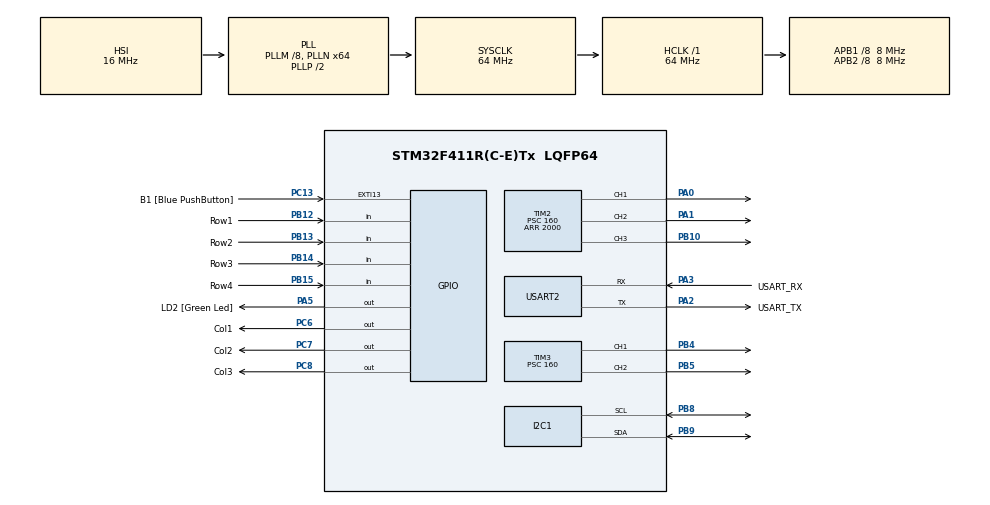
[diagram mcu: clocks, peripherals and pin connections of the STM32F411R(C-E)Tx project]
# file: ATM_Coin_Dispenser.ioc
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Mcu.Family=STM32F4
Mcu.Name=STM32F411R(C-E)Tx
Mcu.Package=LQFP64
NVIC.PriorityGroup=NVIC_PRIORITYGROUP_0
PA0-WKUP.Signal=S_TIM2_CH1_ETR
PA1.Signal=S_TIM2_CH2
PA13.GPIO_Label=TMS
PA13.Mode=Serial_Wire
PA13.Signal=SYS_JTMS-SWDIO
PA14.GPIO_Label=TCK
PA14.Mode=Serial_Wire
PA14.Signal=SYS_JTCK-SWCLK
PA2.GPIO_Label=USART_TX
PA2.Mode=Asynchronous
PA2.Signal=USART2_TX
PA3.GPIO_Label=USART_RX
PA3.Mode=Asynchronous
PA3.Signal=USART2_RX
PA5.GPIO_Label=LD2 [Green Led]
PA5.Signal=GPIO_Output
PB10.Signal=S_TIM2_CH3
PB12.GPIO_Label=Row1
PB12.GPIO_PuPd=GPIO_PULLDOWN
PB12.Signal=GPIO_Input
PB13.GPIO_Label=Row2
PB13.GPIO_PuPd=GPIO_PULLDOWN
PB13.Signal=GPIO_Input
PB14.GPIO_Label=Row3
PB14.GPIO_PuPd=GPIO_PULLDOWN
PB14.Signal=GPIO_Input
PB15.GPIO_Label=Row4
PB15.GPIO_PuPd=GPIO_PULLDOWN
PB15.Signal=GPIO_Input
PB3.GPIO_Label=SWO
PB3.Signal=SYS_JTDO-SWO
PB4.Signal=S_TIM3_CH1
PB5.Signal=S_TIM3_CH2
PB8.Mode=I2C
PB8.Signal=I2C1_SCL
PB9.Mode=I2C
PB9.Signal=I2C1_SDA
PC13-ANTI_TAMP.GPIO_Label=B1 [Blue PushButton]
PC13-ANTI_TAMP.GPIO_ModeDefaultEXTI=GPIO_MODE_IT_FALLING
PC13-ANTI_TAMP.Signal=GPXTI13
PC14-OSC32_IN.Mode=LSE-External-Oscillator
PC14-OSC32_IN.Signal=RCC_OSC32_IN
PC15-OSC32_OUT.Mode=LSE-External-Oscillator
PC15-OSC32_OUT.Signal=RCC_OSC32_OUT
PC6.GPIO_Label=Col1
PC6.GPIO_PuPd=GPIO_PULLUP
PC6.Signal=GPIO_Output
PC7.GPIO_Label=Col2
PC7.GPIO_PuPd=GPIO_PULLUP
PC7.Signal=GPIO_Output
PC8.GPIO_Label=Col3
PC8.GPIO_PuPd=GPIO_PULLUP
PC8.Signal=GPIO_Output
PH0\ -\ OSC_IN.Mode=HSE-External-Clock-Source
PH0\ -\ OSC_IN.Signal=RCC_OSC_IN
PH1\ -\ OSC_OUT.Mode=HSE-External-Clock-Source
PH1\ -\ OSC_OUT.Signal=RCC_OSC_OUT
ProjectManager.HeapSize=0x200
ProjectManager.StackSize=0x400
ProjectManager.TargetToolchain=STM32CubeIDE
RCC.48MHZClocksFreq_Value=32000000
RCC.AHBFreq_Value=64000000
RCC.APB1CLKDivider=RCC_HCLK_DIV8
RCC.APB1Freq_Value=8000000
RCC.APB1TimFreq_Value=16000000
RCC.APB2CLKDivider=RCC_HCLK_DIV8
RCC.APB2Freq_Value=8000000
RCC.APB2TimFreq_Value=16000000
RCC.CortexFreq_Value=64000000
RCC.FLatency-AdvancedSettings=FLASH_LATENCY_2
RCC.HCLKFreq_Value=64000000
RCC.HSE_VALUE=8000000
RCC.HSI_VALUE=16000000
RCC.PLLM=8
RCC.PLLN=64
RCC.SYSCLKFreq_VALUE=64000000
RCC.SYSCLKSource=RCC_SYSCLKSOURCE_PLLCLK
RCC.VCOOutputFreq_Value=128000000
SH.S_TIM2_CH1_ETR.0=TIM2_CH1,PWM Generation1 CH1
SH.S_TIM2_CH2.0=TIM2_CH2,PWM Generation2 CH2
SH.S_TIM2_CH3.0=TIM2_CH3,PWM Generation3 CH3
SH.S_TIM3_CH1.0=TIM3_CH1,PWM Generation1 CH1
SH.S_TIM3_CH2.0=TIM3_CH2,PWM Generation2 CH2
TIM2.Channel-PWM\ Generation1\ CH1=TIM_CHANNEL_1
TIM2.Channel-PWM\ Generation2\ CH2=TIM_CHANNEL_2
TIM2.Channel-PWM\ Generation3\ CH3=TIM_CHANNEL_3
TIM2.Period=2000
TIM2.Prescaler=160
TIM2.Pulse-PWM\ Generation1\ CH1=50
TIM2.Pulse-PWM\ Generation2\ CH2=50
TIM2.Pulse-PWM\ Generation3\ CH3=50
TIM3.Channel-PWM\ Generation1\ CH1=TIM_CHANNEL_1
TIM3.Channel-PWM\ Generation2\ CH2=TIM_CHANNEL_2
TIM3.Period=2000
TIM3.Prescaler=160
TIM3.Pulse-PWM\ Generation1\ CH1=50
TIM3.Pulse-PWM\ Generation2\ CH2=50
USART2.VirtualMode=VM_ASYNC
VP_TIM2_VS_ClockSourceINT.Mode=Internal
VP_TIM3_VS_ClockSourceINT.Mode=Internal
board=NUCLEO-F411RE

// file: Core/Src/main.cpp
/* USER CODE BEGIN Header */
/**
  ******************************************************************************
  * @file           : main.c
  * @brief          : Main program body
  ******************************************************************************
  * @attention
  *
  * Copyright (c) 2024 STMicroelectronics.
  * All rights reserved.
  *
  * This software is licensed under terms that can be found in the LICENSE file
  * in the root directory of this software component.
  * If no LICENSE file comes with this software, it is provided AS-IS.
  *
  ******************************************************************************
  */
/* USER CODE END Header */
#include "main.h"

/* USER CODE BEGIN Includes */
#include "numberpad.hpp"	// number pad object
#include "coindispenser.hpp" //coin dispenser object
#include "LCD.hpp"
#include "i2c.hpp"
#include <Stdio.h>
#include "main_logic.hpp"
#include <array>
#include <iostream>

/* USER CODE END Includes */

I2C_HandleTypeDef hi2c1;

TIM_HandleTypeDef htim2;
TIM_HandleTypeDef htim3;

UART_HandleTypeDef huart2;

/* USER CODE BEGIN PV */

extern const int DISPENSER_SIZE = 5;

/* USER CODE END PV */

void SystemClock_Config(void);
static void MX_GPIO_Init(void);
static void MX_USART2_UART_Init(void);
static void MX_TIM2_Init(void);
static void MX_TIM3_Init(void);
static void MX_I2C1_Init(void);

int main(void)
{

  /* MCU Configuration--------------------------------------------------------*/

  /* Reset of all peripherals, Initializes the Flash interface and the Systick. */
  HAL_Init();

  /* Configure the system clock */
  SystemClock_Config();

  /* Initialize all configured peripherals */
  MX_GPIO_Init();
  MX_USART2_UART_Init();
  MX_TIM2_Init();
  MX_TIM3_Init();
  MX_I2C1_Init();

  /* USER CODE BEGIN 2 */
  CoinDispenser dispensers[DISPENSER_SIZE]= {CoinDispenser(2, 200, (servo){0, 180, 50, 250, &htim2, TIM_CHANNEL_1, 1}),
  		  CoinDispenser(3, 100, (servo){0, 180, 50, 250, &htim2, TIM_CHANNEL_2, 2}),
  		  CoinDispenser(4, 25, (servo){0, 180, 50, 250, &htim2, TIM_CHANNEL_3, 3}),
  		  CoinDispenser(0, 10, (servo){0, 180, 50, 250, &htim3, TIM_CHANNEL_1, 1}),
  		  CoinDispenser(5, 5, (servo){0, 180, 50, 250, &htim3, TIM_CHANNEL_2, 2})
    };

  for (int i = 0; i < DISPENSER_SIZE; i++) {
	  dispensers[i].start_PMW();
  }

  // Initiate Objects - will be passed to main_logic function
  numberpad numPad;
  numPad.keypad_init();
  LCD lcd;
  lcd.lcd_init();

  /* USER CODE END 2 */

  /* Infinite loop */
  /* USER CODE BEGIN WHILE */
  int state = 0;
  while (1)
  {
    /* USER CODE END WHILE */

	  state = stateMachine(state, dispensers, numPad, lcd);

  }
}

void SystemClock_Config(void)
{
  RCC_OscInitTypeDef RCC_OscInitStruct = {0};
  RCC_ClkInitTypeDef RCC_ClkInitStruct = {0};

  /** Configure the main internal regulator output voltage
  */
  __HAL_RCC_PWR_CLK_ENABLE();
  __HAL_PWR_VOLTAGESCALING_CONFIG(PWR_REGULATOR_VOLTAGE_SCALE1);

  /** Initializes the RCC Oscillators according to the specified parameters
  * in the RCC_OscInitTypeDef structure.
  */
  RCC_OscInitStruct.OscillatorType = RCC_OSCILLATORTYPE_HSI;
  RCC_OscInitStruct.HSIState = RCC_HSI_ON;
  RCC_OscInitStruct.HSICalibrationValue = RCC_HSICALIBRATION_DEFAULT;
  RCC_OscInitStruct.PLL.PLLState = RCC_PLL_ON;
  RCC_OscInitStruct.PLL.PLLSource = RCC_PLLSOURCE_HSI;
  RCC_OscInitStruct.PLL.PLLM = 8;
  RCC_OscInitStruct.PLL.PLLN = 64;
  RCC_OscInitStruct.PLL.PLLP = RCC_PLLP_DIV2;
  RCC_OscInitStruct.PLL.PLLQ = 4;
  if (HAL_RCC_OscConfig(&RCC_OscInitStruct) != HAL_OK)
  {
    Error_Handler();
  }

  /** Initializes the CPU, AHB and APB buses clocks
  */
  RCC_ClkInitStruct.ClockType = RCC_CLOCKTYPE_HCLK|RCC_CLOCKTYPE_SYSCLK
                              |RCC_CLOCKTYPE_PCLK1|RCC_CLOCKTYPE_PCLK2;
  RCC_ClkInitStruct.SYSCLKSource = RCC_SYSCLKSOURCE_PLLCLK;
  RCC_ClkInitStruct.AHBCLKDivider = RCC_SYSCLK_DIV1;
  RCC_ClkInitStruct.APB1CLKDivider = RCC_HCLK_DIV8;
  RCC_ClkInitStruct.APB2CLKDivider = RCC_HCLK_DIV8;

  if (HAL_RCC_ClockConfig(&RCC_ClkInitStruct, FLASH_LATENCY_2) != HAL_OK)
  {
    Error_Handler();
  }
}

static void MX_I2C1_Init(void)
{

  hi2c1.Instance = I2C1;
  hi2c1.Init.ClockSpeed = 100000;
  hi2c1.Init.DutyCycle = I2C_DUTYCYCLE_2;
  hi2c1.Init.OwnAddress1 = 0;
  hi2c1.Init.AddressingMode = I2C_ADDRESSINGMODE_7BIT;
  hi2c1.Init.DualAddressMode = I2C_DUALADDRESS_DISABLE;
  hi2c1.Init.OwnAddress2 = 0;
  hi2c1.Init.GeneralCallMode = I2C_GENERALCALL_DISABLE;
  hi2c1.Init.NoStretchMode = I2C_NOSTRETCH_DISABLE;
  if (HAL_I2C_Init(&hi2c1) != HAL_OK)
  {
    Error_Handler();
  }

}

static void MX_TIM2_Init(void)
{

  TIM_ClockConfigTypeDef sClockSourceConfig = {0};
  TIM_MasterConfigTypeDef sMasterConfig = {0};
  TIM_OC_InitTypeDef sConfigOC = {0};

  htim2.Instance = TIM2;
  htim2.Init.Prescaler = 160;
  htim2.Init.CounterMode = TIM_COUNTERMODE_UP;
  htim2.Init.Period = 2000;
  htim2.Init.ClockDivision = TIM_CLOCKDIVISION_DIV1;
  htim2.Init.AutoReloadPreload = TIM_AUTORELOAD_PRELOAD_DISABLE;
  if (HAL_TIM_Base_Init(&htim2) != HAL_OK)
  {
    Error_Handler();
  }
  sClockSourceConfig.ClockSource = TIM_CLOCKSOURCE_INTERNAL;
  if (HAL_TIM_ConfigClockSource(&htim2, &sClockSourceConfig) != HAL_OK)
  {
    Error_Handler();
  }
  if (HAL_TIM_PWM_Init(&htim2) != HAL_OK)
  {
    Error_Handler();
  }
  sMasterConfig.MasterOutputTrigger = TIM_TRGO_RESET;
  sMasterConfig.MasterSlaveMode = TIM_MASTERSLAVEMODE_DISABLE;
  if (HAL_TIMEx_MasterConfigSynchronization(&htim2, &sMasterConfig) != HAL_OK)
  {
    Error_Handler();
  }
  sConfigOC.OCMode = TIM_OCMODE_PWM1;
  sConfigOC.Pulse = 50;
  sConfigOC.OCPolarity = TIM_OCPOLARITY_HIGH;
  sConfigOC.OCFastMode = TIM_OCFAST_DISABLE;
  if (HAL_TIM_PWM_ConfigChannel(&htim2, &sConfigOC, TIM_CHANNEL_1) != HAL_OK)
  {
    Error_Handler();
  }
  if (HAL_TIM_PWM_ConfigChannel(&htim2, &sConfigOC, TIM_CHANNEL_2) != HAL_OK)
  {
    Error_Handler();
  }
  if (HAL_TIM_PWM_ConfigChannel(&htim2, &sConfigOC, TIM_CHANNEL_3) != HAL_OK)
  {
    Error_Handler();
  }
  HAL_TIM_MspPostInit(&htim2);

}

static void MX_TIM3_Init(void)
{

  TIM_ClockConfigTypeDef sClockSourceConfig = {0};
  TIM_MasterConfigTypeDef sMasterConfig = {0};
  TIM_OC_InitTypeDef sConfigOC = {0};

  htim3.Instance = TIM3;
  htim3.Init.Prescaler = 160;
  htim3.Init.CounterMode = TIM_COUNTERMODE_UP;
  htim3.Init.Period = 2000;
  htim3.Init.ClockDivision = TIM_CLOCKDIVISION_DIV1;
  htim3.Init.AutoReloadPreload = TIM_AUTORELOAD_PRELOAD_DISABLE;
  if (HAL_TIM_Base_Init(&htim3) != HAL_OK)
  {
    Error_Handler();
  }
  sClockSourceConfig.ClockSource = TIM_CLOCKSOURCE_INTERNAL;
  if (HAL_TIM_ConfigClockSource(&htim3, &sClockSourceConfig) != HAL_OK)
  {
    Error_Handler();
  }
  if (HAL_TIM_PWM_Init(&htim3) != HAL_OK)
  {
    Error_Handler();
  }
  sMasterConfig.MasterOutputTrigger = TIM_TRGO_RESET;
  sMasterConfig.MasterSlaveMode = TIM_MASTERSLAVEMODE_DISABLE;
  if (HAL_TIMEx_MasterConfigSynchronization(&htim3, &sMasterConfig) != HAL_OK)
  {
    Error_Handler();
  }
  sConfigOC.OCMode = TIM_OCMODE_PWM1;
  sConfigOC.Pulse = 50;
  sConfigOC.OCPolarity = TIM_OCPOLARITY_HIGH;
  sConfigOC.OCFastMode = TIM_OCFAST_DISABLE;
  if (HAL_TIM_PWM_ConfigChannel(&htim3, &sConfigOC, TIM_CHANNEL_1) != HAL_OK)
  {
    Error_Handler();
  }
  if (HAL_TIM_PWM_ConfigChannel(&htim3, &sConfigOC, TIM_CHANNEL_2) != HAL_OK)
  {
    Error_Handler();
  }
  HAL_TIM_MspPostInit(&htim3);

}

static void MX_USART2_UART_Init(void)
{

  huart2.Instance = USART2;
  huart2.Init.BaudRate = 115200;
  huart2.Init.WordLength = UART_WORDLENGTH_8B;
  huart2.Init.StopBits = UART_STOPBITS_1;
  huart2.Init.Parity = UART_PARITY_NONE;
  huart2.Init.Mode = UART_MODE_TX_RX;
  huart2.Init.HwFlowCtl = UART_HWCONTROL_NONE;
  huart2.Init.OverSampling = UART_OVERSAMPLING_16;
  if (HAL_UART_Init(&huart2) != HAL_OK)
  {
    Error_Handler();
  }

}

static void MX_GPIO_Init(void)
{
  GPIO_InitTypeDef GPIO_InitStruct = {0};

  /* GPIO Ports Clock Enable */
  __HAL_RCC_GPIOC_CLK_ENABLE();
  __HAL_RCC_GPIOH_CLK_ENABLE();
  __HAL_RCC_GPIOA_CLK_ENABLE();
  __HAL_RCC_GPIOB_CLK_ENABLE();

  /*Configure GPIO pin Output Level */
  HAL_GPIO_WritePin(LD2_GPIO_Port, LD2_Pin, GPIO_PIN_RESET);

  /*Configure GPIO pin Output Level */
  HAL_GPIO_WritePin(GPIOC, Col1_Pin|Col2_Pin|Col3_Pin, GPIO_PIN_RESET);

  /*Configure GPIO pin : B1_Pin */
  GPIO_InitStruct.Pin = B1_Pin;
  GPIO_InitStruct.Mode = GPIO_MODE_IT_FALLING;
  GPIO_InitStruct.Pull = GPIO_NOPULL;
  HAL_GPIO_Init(B1_GPIO_Port, &GPIO_InitStruct);

  /*Configure GPIO pin : LD2_Pin */
  GPIO_InitStruct.Pin = LD2_Pin;
  GPIO_InitStruct.Mode = GPIO_MODE_OUTPUT_PP;
  GPIO_InitStruct.Pull = GPIO_NOPULL;
  GPIO_InitStruct.Speed = GPIO_SPEED_FREQ_LOW;
  HAL_GPIO_Init(LD2_GPIO_Port, &GPIO_InitStruct);

  /*Configure GPIO pins : Row1_Pin Row2_Pin Row3_Pin Row4_Pin */
  GPIO_InitStruct.Pin = Row1_Pin|Row2_Pin|Row3_Pin|Row4_Pin;
  GPIO_InitStruct.Mode = GPIO_MODE_INPUT;
  GPIO_InitStruct.Pull = GPIO_PULLDOWN;
  HAL_GPIO_Init(GPIOB, &GPIO_InitStruct);

  /*Configure GPIO pins : Col1_Pin Col2_Pin Col3_Pin */
  GPIO_InitStruct.Pin = Col1_Pin|Col2_Pin|Col3_Pin;
  GPIO_InitStruct.Mode = GPIO_MODE_OUTPUT_PP;
  GPIO_InitStruct.Pull = GPIO_PULLUP;
  GPIO_InitStruct.Speed = GPIO_SPEED_FREQ_LOW;
  HAL_GPIO_Init(GPIOC, &GPIO_InitStruct);

}

void Error_Handler(void)
{
  __disable_irq();
  while (1)
  {
  }
}
